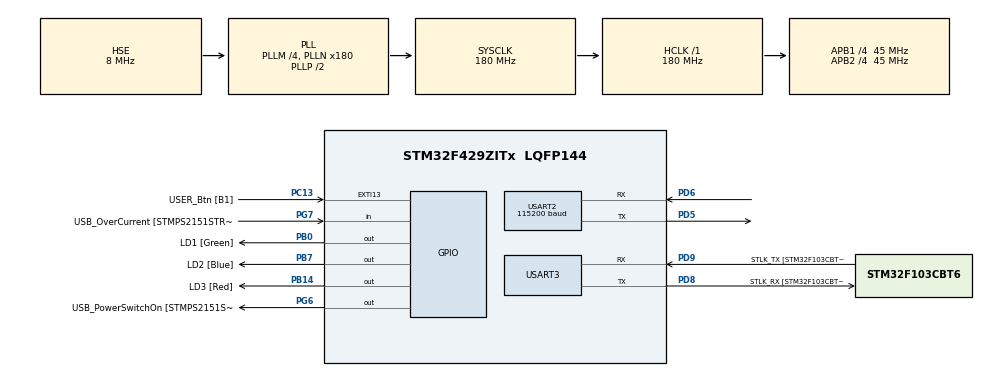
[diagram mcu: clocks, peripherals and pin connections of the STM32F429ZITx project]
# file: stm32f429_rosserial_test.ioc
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Dma.Request0=USART2_TX
Dma.Request1=USART2_RX
Dma.USART2_RX.1.Direction=DMA_PERIPH_TO_MEMORY
Dma.USART2_RX.1.FIFOMode=DMA_FIFOMODE_DISABLE
Dma.USART2_RX.1.Instance=DMA1_Stream5
Dma.USART2_RX.1.MemDataAlignment=DMA_MDATAALIGN_BYTE
Dma.USART2_RX.1.MemInc=DMA_MINC_ENABLE
Dma.USART2_RX.1.Mode=DMA_CIRCULAR
Dma.USART2_RX.1.PeriphDataAlignment=DMA_PDATAALIGN_BYTE
Dma.USART2_RX.1.PeriphInc=DMA_PINC_DISABLE
Dma.USART2_RX.1.Priority=DMA_PRIORITY_HIGH
Dma.USART2_TX.0.Direction=DMA_MEMORY_TO_PERIPH
Dma.USART2_TX.0.FIFOMode=DMA_FIFOMODE_DISABLE
Dma.USART2_TX.0.Instance=DMA1_Stream6
Dma.USART2_TX.0.MemDataAlignment=DMA_MDATAALIGN_BYTE
Dma.USART2_TX.0.MemInc=DMA_MINC_ENABLE
Dma.USART2_TX.0.Mode=DMA_NORMAL
Dma.USART2_TX.0.PeriphDataAlignment=DMA_PDATAALIGN_BYTE
Dma.USART2_TX.0.PeriphInc=DMA_PINC_DISABLE
Dma.USART2_TX.0.Priority=DMA_PRIORITY_HIGH
Mcu.Family=STM32F4
Mcu.Name=STM32F429ZITx
Mcu.Package=LQFP144
NVIC.DMA1_Stream5_IRQn=true\:0\:0\:false\:false\:true\:false\:true\:true
NVIC.DMA1_Stream6_IRQn=true\:0\:0\:false\:false\:true\:false\:true\:true
NVIC.PriorityGroup=NVIC_PRIORITYGROUP_4
NVIC.TIM2_IRQn=true\:0\:0\:false\:false\:true\:true\:true\:true
NVIC.USART2_IRQn=true\:0\:0\:false\:false\:true\:true\:true\:true
PA1.GPIO_Label=RMII_REF_CLK [LAN8742A-CZ-TR_REFCLK0]
PA1.Signal=ETH_REF_CLK
PA10.GPIO_Label=USB_ID
PA10.Signal=USB_OTG_FS_ID
PA11.GPIO_Label=USB_DM
PA11.Signal=USB_OTG_FS_DM
PA12.GPIO_Label=USB_DP
PA12.Signal=USB_OTG_FS_DP
PA13.GPIO_Label=TMS
PA13.Mode=Serial_Wire
PA13.Signal=SYS_JTMS-SWDIO
PA14.GPIO_Label=TCK
PA14.Mode=Serial_Wire
PA14.Signal=SYS_JTCK-SWCLK
PA2.GPIO_Label=RMII_MDIO [LAN8742A-CZ-TR_MDIO]
PA2.Signal=ETH_MDIO
PA7.GPIO_Label=RMII_CRS_DV [LAN8742A-CZ-TR_CRS_DV]
PA7.Signal=ETH_CRS_DV
PA8.GPIO_Label=USB_SOF [TP1]
PA8.Signal=USB_OTG_FS_SOF
PA9.GPIO_Label=USB_VBUS
PA9.Signal=USB_OTG_FS_VBUS
PB0.GPIO_Label=LD1 [Green]
PB0.Signal=GPIO_Output
PB13.GPIO_Label=RMII_TXD1 [LAN8742A-CZ-TR_TXD1]
PB13.Signal=ETH_TXD1
PB14.GPIO_Label=LD3 [Red]
PB14.Signal=GPIO_Output
PB7.GPIO_Label=LD2 [Blue]
PB7.Signal=GPIO_Output
PC1.GPIO_Label=RMII_MDC [LAN8742A-CZ-TR_MDC]
PC1.Signal=ETH_MDC
PC13.GPIO_Label=USER_Btn [B1]
PC13.Signal=GPXTI13
PC14/OSC32_IN.Mode=LSE-External-Oscillator
PC14/OSC32_IN.Signal=RCC_OSC32_IN
PC15/OSC32_OUT.Mode=LSE-External-Oscillator
PC15/OSC32_OUT.Signal=RCC_OSC32_OUT
PC4.GPIO_Label=RMII_RXD0 [LAN8742A-CZ-TR_RXD0]
PC4.Signal=ETH_RXD0
PC5.GPIO_Label=RMII_RXD1 [LAN8742A-CZ-TR_RXD1]
PC5.Signal=ETH_RXD1
PD5.Mode=Asynchronous
PD5.Signal=USART2_TX
PD6.Mode=Asynchronous
PD6.Signal=USART2_RX
PD8.GPIO_Label=STLK_RX [STM32F103CBT6_PA3]
PD8.Mode=Asynchronous
PD8.Signal=USART3_TX
PD9.GPIO_Label=STLK_TX [STM32F103CBT6_PA2]
PD9.Mode=Asynchronous
PD9.Signal=USART3_RX
PG11.GPIO_Label=RMII_TX_EN [LAN8742A-CZ-TR_TXEN]
PG11.Signal=ETH_TX_EN
PG13.GPIO_Label=RMII_TXD0 [LAN8742A-CZ-TR_TXD0]
PG13.Signal=ETH_TXD0
PG6.GPIO_Label=USB_PowerSwitchOn [STMPS2151STR_EN]
PG6.Signal=GPIO_Output
PG7.GPIO_Label=USB_OverCurrent [STMPS2151STR_FAULT]
PG7.Signal=GPIO_Input
PH0/OSC_IN.GPIO_Label=MCO [STM32F103CBT6_PA8]
PH0/OSC_IN.Mode=HSE-External-Clock-Source
PH0/OSC_IN.Signal=RCC_OSC_IN
PH1/OSC_OUT.Mode=HSE-External-Clock-Source
PH1/OSC_OUT.Signal=RCC_OSC_OUT
ProjectManager.HeapSize=0x200
ProjectManager.StackSize=0x400
ProjectManager.TargetToolchain=STM32CubeIDE
RCC.48MHZClocksFreq_Value=45000000
RCC.AHBFreq_Value=180000000
RCC.APB1CLKDivider=RCC_HCLK_DIV4
RCC.APB1Freq_Value=45000000
RCC.APB1TimFreq_Value=90000000
RCC.APB2CLKDivider=RCC_HCLK_DIV4
RCC.APB2Freq_Value=45000000
RCC.APB2TimCLKDivider=2
RCC.APB2TimFreq_Value=90000000
RCC.CortexFreq_Value=180000000
RCC.EnbaleCSS=true
RCC.HCLKFreq_Value=180000000
RCC.HSE_VALUE=8000000
RCC.HSI_VALUE=16000000
RCC.PLLM=4
RCC.PLLMUL=RCC_PLL_MUL9
RCC.PLLN=180
RCC.PLLQ=8
RCC.PLLSourceVirtual=RCC_PLLSOURCE_HSE
RCC.PRESCALERUSB=RCC_USBCLKSOURCE_PLL_DIV1_5
RCC.SYSCLKFreq_VALUE=180000000
RCC.SYSCLKSource=RCC_SYSCLKSOURCE_PLLCLK
RCC.SYSCLKSourceVirtual=RCC_SYSCLKSOURCE_PLLCLK
RCC.USBFreq_Value=48000000
RCC.VCOOutputFreq_Value=360000000
TIM2.Period=60000-1
TIM2.Prescaler=150-1
USART2.BaudRate=115200
USART2.VirtualMode=VM_ASYNC
USART3.VirtualMode=VM_ASYNC
VP_TIM2_VS_ClockSourceINT.Mode=Internal
board=NUCLEO-F429ZI

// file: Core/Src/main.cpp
/* USER CODE BEGIN Header */
/**
 ******************************************************************************
 * @file           : main.c
 * @brief          : Main program body
 ******************************************************************************
 * @attention
 *
 * Copyright (c) 2022 STMicroelectronics.
 * All rights reserved.
 *
 * This software is licensed under terms that can be found in the LICENSE file
 * in the root directory of this software component.
 * If no LICE NSE file comes with this software, it is provided AS-IS.
 *
 ******************************************************************************
 */
/* USER CODE END Header */
#include "main.h"

/* USER CODE BEGIN Includes */
#include "ros.h"
#include "serial.h"
/* USER CODE END Includes */

TIM_HandleTypeDef htim2;

UART_HandleTypeDef huart2;
UART_HandleTypeDef huart3;
DMA_HandleTypeDef hdma_usart2_tx;
DMA_HandleTypeDef hdma_usart2_rx;

void SystemClock_Config(void);
static void MX_GPIO_Init(void);
static void MX_USART3_UART_Init(void);
static void MX_DMA_Init(void);
static void MX_USART2_UART_Init(void);
static void MX_TIM2_Init(void);

/* USER CODE BEGIN 0 */
void HAL_UART_TxCpltCallback(UART_HandleTypeDef* huart)
{
  nh.getHardware()->flush();
}

void HAL_TIM_PeriodElapsedCallback(TIM_HandleTypeDef *htim){
  if(htim == &htim2){
//	  nh.spinOnce();
	  pub_twist.publish(&odom_vel);
  }
}

void HAL_UART_ErrorCallback(UART_HandleTypeDef *huart){
  if(huart == &huart2){
    HAL_UART_DeInit(&huart2);
    MX_USART2_UART_Init();
    nh.getHardware()->init();
  }
}

/* USER CODE END 0 */

int main(void)
{

  /* MCU Configuration--------------------------------------------------------*/

  /* Reset of all peripherals, Initializes the Flash interface and the Systick. */
  HAL_Init();

  /* Configure the system clock */
  SystemClock_Config();

  /* Initialize all configured peripherals */
  MX_GPIO_Init();
  MX_USART3_UART_Init();
  MX_DMA_Init();
  MX_USART2_UART_Init();
  MX_TIM2_Init();
  /* USER CODE BEGIN 2 */
  Rosserial_Init();
  HAL_TIM_Base_Start_IT(&htim2);
  /* USER CODE END 2 */

  /* Infinite loop */
  while (1)
  {

    /* USER CODE BEGIN 3 */
    nh.spinOnce();
  }
  /* USER CODE END 3 */
}

void SystemClock_Config(void)
{
  RCC_OscInitTypeDef RCC_OscInitStruct = {0};
  RCC_ClkInitTypeDef RCC_ClkInitStruct = {0};

  /** Configure the main internal regulator output voltage
  */
  __HAL_RCC_PWR_CLK_ENABLE();
  __HAL_PWR_VOLTAGESCALING_CONFIG(PWR_REGULATOR_VOLTAGE_SCALE1);
  /** Initializes the RCC Oscillators according to the specified parameters
  * in the RCC_OscInitTypeDef structure.
  */
  RCC_OscInitStruct.OscillatorType = RCC_OSCILLATORTYPE_HSE;
  RCC_OscInitStruct.HSEState = RCC_HSE_BYPASS;
  RCC_OscInitStruct.PLL.PLLState = RCC_PLL_ON;
  RCC_OscInitStruct.PLL.PLLSource = RCC_PLLSOURCE_HSE;
  RCC_OscInitStruct.PLL.PLLM = 4;
  RCC_OscInitStruct.PLL.PLLN = 180;
  RCC_OscInitStruct.PLL.PLLP = RCC_PLLP_DIV2;
  RCC_OscInitStruct.PLL.PLLQ = 8;
  if (HAL_RCC_OscConfig(&RCC_OscInitStruct) != HAL_OK)
  {
    Error_Handler();
  }
  /** Activate the Over-Drive mode
  */
  if (HAL_PWREx_EnableOverDrive() != HAL_OK)
  {
    Error_Handler();
  }
  /** Initializes the CPU, AHB and APB buses clocks
  */
  RCC_ClkInitStruct.ClockType = RCC_CLOCKTYPE_HCLK|RCC_CLOCKTYPE_SYSCLK
                              |RCC_CLOCKTYPE_PCLK1|RCC_CLOCKTYPE_PCLK2;
  RCC_ClkInitStruct.SYSCLKSource = RCC_SYSCLKSOURCE_PLLCLK;
  RCC_ClkInitStruct.AHBCLKDivider = RCC_SYSCLK_DIV1;
  RCC_ClkInitStruct.APB1CLKDivider = RCC_HCLK_DIV4;
  RCC_ClkInitStruct.APB2CLKDivider = RCC_HCLK_DIV4;

  if (HAL_RCC_ClockConfig(&RCC_ClkInitStruct, FLASH_LATENCY_5) != HAL_OK)
  {
    Error_Handler();
  }
  /** Enables the Clock Security System
  */
  HAL_RCC_EnableCSS();
}

static void MX_TIM2_Init(void)
{

  TIM_ClockConfigTypeDef sClockSourceConfig = {0};
  TIM_MasterConfigTypeDef sMasterConfig = {0};

  htim2.Instance = TIM2;
  htim2.Init.Prescaler = 15-1;
  htim2.Init.CounterMode = TIM_COUNTERMODE_UP;
  htim2.Init.Period = 60000-1;
  htim2.Init.ClockDivision = TIM_CLOCKDIVISION_DIV1;
  htim2.Init.AutoReloadPreload = TIM_AUTORELOAD_PRELOAD_DISABLE;
  if (HAL_TIM_Base_Init(&htim2) != HAL_OK)
  {
    Error_Handler();
  }
  sClockSourceConfig.ClockSource = TIM_CLOCKSOURCE_INTERNAL;
  if (HAL_TIM_ConfigClockSource(&htim2, &sClockSourceConfig) != HAL_OK)
  {
    Error_Handler();
  }
  sMasterConfig.MasterOutputTrigger = TIM_TRGO_RESET;
  sMasterConfig.MasterSlaveMode = TIM_MASTERSLAVEMODE_DISABLE;
  if (HAL_TIMEx_MasterConfigSynchronization(&htim2, &sMasterConfig) != HAL_OK)
  {
    Error_Handler();
  }

}

static void MX_USART2_UART_Init(void)
{

  huart2.Instance = USART2;
  huart2.Init.BaudRate = 921600;
  huart2.Init.WordLength = UART_WORDLENGTH_8B;
  huart2.Init.StopBits = UART_STOPBITS_1;
  huart2.Init.Parity = UART_PARITY_NONE;
  huart2.Init.Mode = UART_MODE_TX_RX;
  huart2.Init.HwFlowCtl = UART_HWCONTROL_NONE;
  huart2.Init.OverSampling = UART_OVERSAMPLING_16;
  if (HAL_UART_Init(&huart2) != HAL_OK)
  {
    Error_Handler();
  }

}

static void MX_USART3_UART_Init(void)
{

  huart3.Instance = USART3;
  huart3.Init.BaudRate = 115200;
  huart3.Init.WordLength = UART_WORDLENGTH_8B;
  huart3.Init.StopBits = UART_STOPBITS_1;
  huart3.Init.Parity = UART_PARITY_NONE;
  huart3.Init.Mode = UART_MODE_TX_RX;
  huart3.Init.HwFlowCtl = UART_HWCONTROL_NONE;
  huart3.Init.OverSampling = UART_OVERSAMPLING_16;
  if (HAL_UART_Init(&huart3) != HAL_OK)
  {
    Error_Handler();
  }

}

static void MX_DMA_Init(void)
{

  /* DMA controller clock enable */
  __HAL_RCC_DMA1_CLK_ENABLE();

  /* DMA interrupt init */
  /* DMA1_Stream5_IRQn interrupt configuration */
  HAL_NVIC_SetPriority(DMA1_Stream5_IRQn, 0, 0);
  HAL_NVIC_EnableIRQ(DMA1_Stream5_IRQn);
  /* DMA1_Stream6_IRQn interrupt configuration */
  HAL_NVIC_SetPriority(DMA1_Stream6_IRQn, 0, 0);
  HAL_NVIC_EnableIRQ(DMA1_Stream6_IRQn);

}

static void MX_GPIO_Init(void)
{
  GPIO_InitTypeDef GPIO_InitStruct = {0};

  /* GPIO Ports Clock Enable */
  __HAL_RCC_GPIOC_CLK_ENABLE();
  __HAL_RCC_GPIOH_CLK_ENABLE();
  __HAL_RCC_GPIOA_CLK_ENABLE();
  __HAL_RCC_GPIOB_CLK_ENABLE();
  __HAL_RCC_GPIOD_CLK_ENABLE();
  __HAL_RCC_GPIOG_CLK_ENABLE();

  /*Configure GPIO pin Output Level */
  HAL_GPIO_WritePin(GPIOB, LD1_Pin|LD3_Pin|LD2_Pin, GPIO_PIN_RESET);

  /*Configure GPIO pin Output Level */
  HAL_GPIO_WritePin(USB_PowerSwitchOn_GPIO_Port, USB_PowerSwitchOn_Pin, GPIO_PIN_RESET);

  /*Configure GPIO pin : USER_Btn_Pin */
  GPIO_InitStruct.Pin = USER_Btn_Pin;
  GPIO_InitStruct.Mode = GPIO_MODE_IT_RISING;
  GPIO_InitStruct.Pull = GPIO_NOPULL;
  HAL_GPIO_Init(USER_Btn_GPIO_Port, &GPIO_InitStruct);

  /*Configure GPIO pins : RMII_MDC_Pin RMII_RXD0_Pin RMII_RXD1_Pin */
  GPIO_InitStruct.Pin = RMII_MDC_Pin|RMII_RXD0_Pin|RMII_RXD1_Pin;
  GPIO_InitStruct.Mode = GPIO_MODE_AF_PP;
  GPIO_InitStruct.Pull = GPIO_NOPULL;
  GPIO_InitStruct.Speed = GPIO_SPEED_FREQ_VERY_HIGH;
  GPIO_InitStruct.Alternate = GPIO_AF11_ETH;
  HAL_GPIO_Init(GPIOC, &GPIO_InitStruct);

  /*Configure GPIO pins : RMII_REF_CLK_Pin RMII_MDIO_Pin RMII_CRS_DV_Pin */
  GPIO_InitStruct.Pin = RMII_REF_CLK_Pin|RMII_MDIO_Pin|RMII_CRS_DV_Pin;
  GPIO_InitStruct.Mode = GPIO_MODE_AF_PP;
  GPIO_InitStruct.Pull = GPIO_NOPULL;
  GPIO_InitStruct.Speed = GPIO_SPEED_FREQ_VERY_HIGH;
  GPIO_InitStruct.Alternate = GPIO_AF11_ETH;
  HAL_GPIO_Init(GPIOA, &GPIO_InitStruct);

  /*Configure GPIO pins : LD1_Pin LD3_Pin LD2_Pin */
  GPIO_InitStruct.Pin = LD1_Pin|LD3_Pin|LD2_Pin;
  GPIO_InitStruct.Mode = GPIO_MODE_OUTPUT_PP;
  GPIO_InitStruct.Pull = GPIO_NOPULL;
  GPIO_InitStruct.Speed = GPIO_SPEED_FREQ_LOW;
  HAL_GPIO_Init(GPIOB, &GPIO_InitStruct);

  /*Configure GPIO pin : RMII_TXD1_Pin */
  GPIO_InitStruct.Pin = RMII_TXD1_Pin;
  GPIO_InitStruct.Mode = GPIO_MODE_AF_PP;
  GPIO_InitStruct.Pull = GPIO_NOPULL;
  GPIO_InitStruct.Speed = GPIO_SPEED_FREQ_VERY_HIGH;
  GPIO_InitStruct.Alternate = GPIO_AF11_ETH;
  HAL_GPIO_Init(RMII_TXD1_GPIO_Port, &GPIO_InitStruct);

  /*Configure GPIO pin : USB_PowerSwitchOn_Pin */
  GPIO_InitStruct.Pin = USB_PowerSwitchOn_Pin;
  GPIO_InitStruct.Mode = GPIO_MODE_OUTPUT_PP;
  GPIO_InitStruct.Pull = GPIO_NOPULL;
  GPIO_InitStruct.Speed = GPIO_SPEED_FREQ_LOW;
  HAL_GPIO_Init(USB_PowerSwitchOn_GPIO_Port, &GPIO_InitStruct);

  /*Configure GPIO pin : USB_OverCurrent_Pin */
  GPIO_InitStruct.Pin = USB_OverCurrent_Pin;
  GPIO_InitStruct.Mode = GPIO_MODE_INPUT;
  GPIO_InitStruct.Pull = GPIO_NOPULL;
  HAL_GPIO_Init(USB_OverCurrent_GPIO_Port, &GPIO_InitStruct);

  /*Configure GPIO pins : USB_SOF_Pin USB_ID_Pin USB_DM_Pin USB_DP_Pin */
  GPIO_InitStruct.Pin = USB_SOF_Pin|USB_ID_Pin|USB_DM_Pin|USB_DP_Pin;
  GPIO_InitStruct.Mode = GPIO_MODE_AF_PP;
  GPIO_InitStruct.Pull = GPIO_NOPULL;
  GPIO_InitStruct.Speed = GPIO_SPEED_FREQ_VERY_HIGH;
  GPIO_InitStruct.Alternate = GPIO_AF10_OTG_FS;
  HAL_GPIO_Init(GPIOA, &GPIO_InitStruct);

  /*Configure GPIO pin : USB_VBUS_Pin */
  GPIO_InitStruct.Pin = USB_VBUS_Pin;
  GPIO_InitStruct.Mode = GPIO_MODE_INPUT;
  GPIO_InitStruct.Pull = GPIO_NOPULL;
  HAL_GPIO_Init(USB_VBUS_GPIO_Port, &GPIO_InitStruct);

  /*Configure GPIO pins : RMII_TX_EN_Pin RMII_TXD0_Pin */
  GPIO_InitStruct.Pin = RMII_TX_EN_Pin|RMII_TXD0_Pin;
  GPIO_InitStruct.Mode = GPIO_MODE_AF_PP;
  GPIO_InitStruct.Pull = GPIO_NOPULL;
  GPIO_InitStruct.Speed = GPIO_SPEED_FREQ_VERY_HIGH;
  GPIO_InitStruct.Alternate = GPIO_AF11_ETH;
  HAL_GPIO_Init(GPIOG, &GPIO_InitStruct);

}

void Error_Handler(void)
{
  __disable_irq();
  while (1)
  {
  }
}
